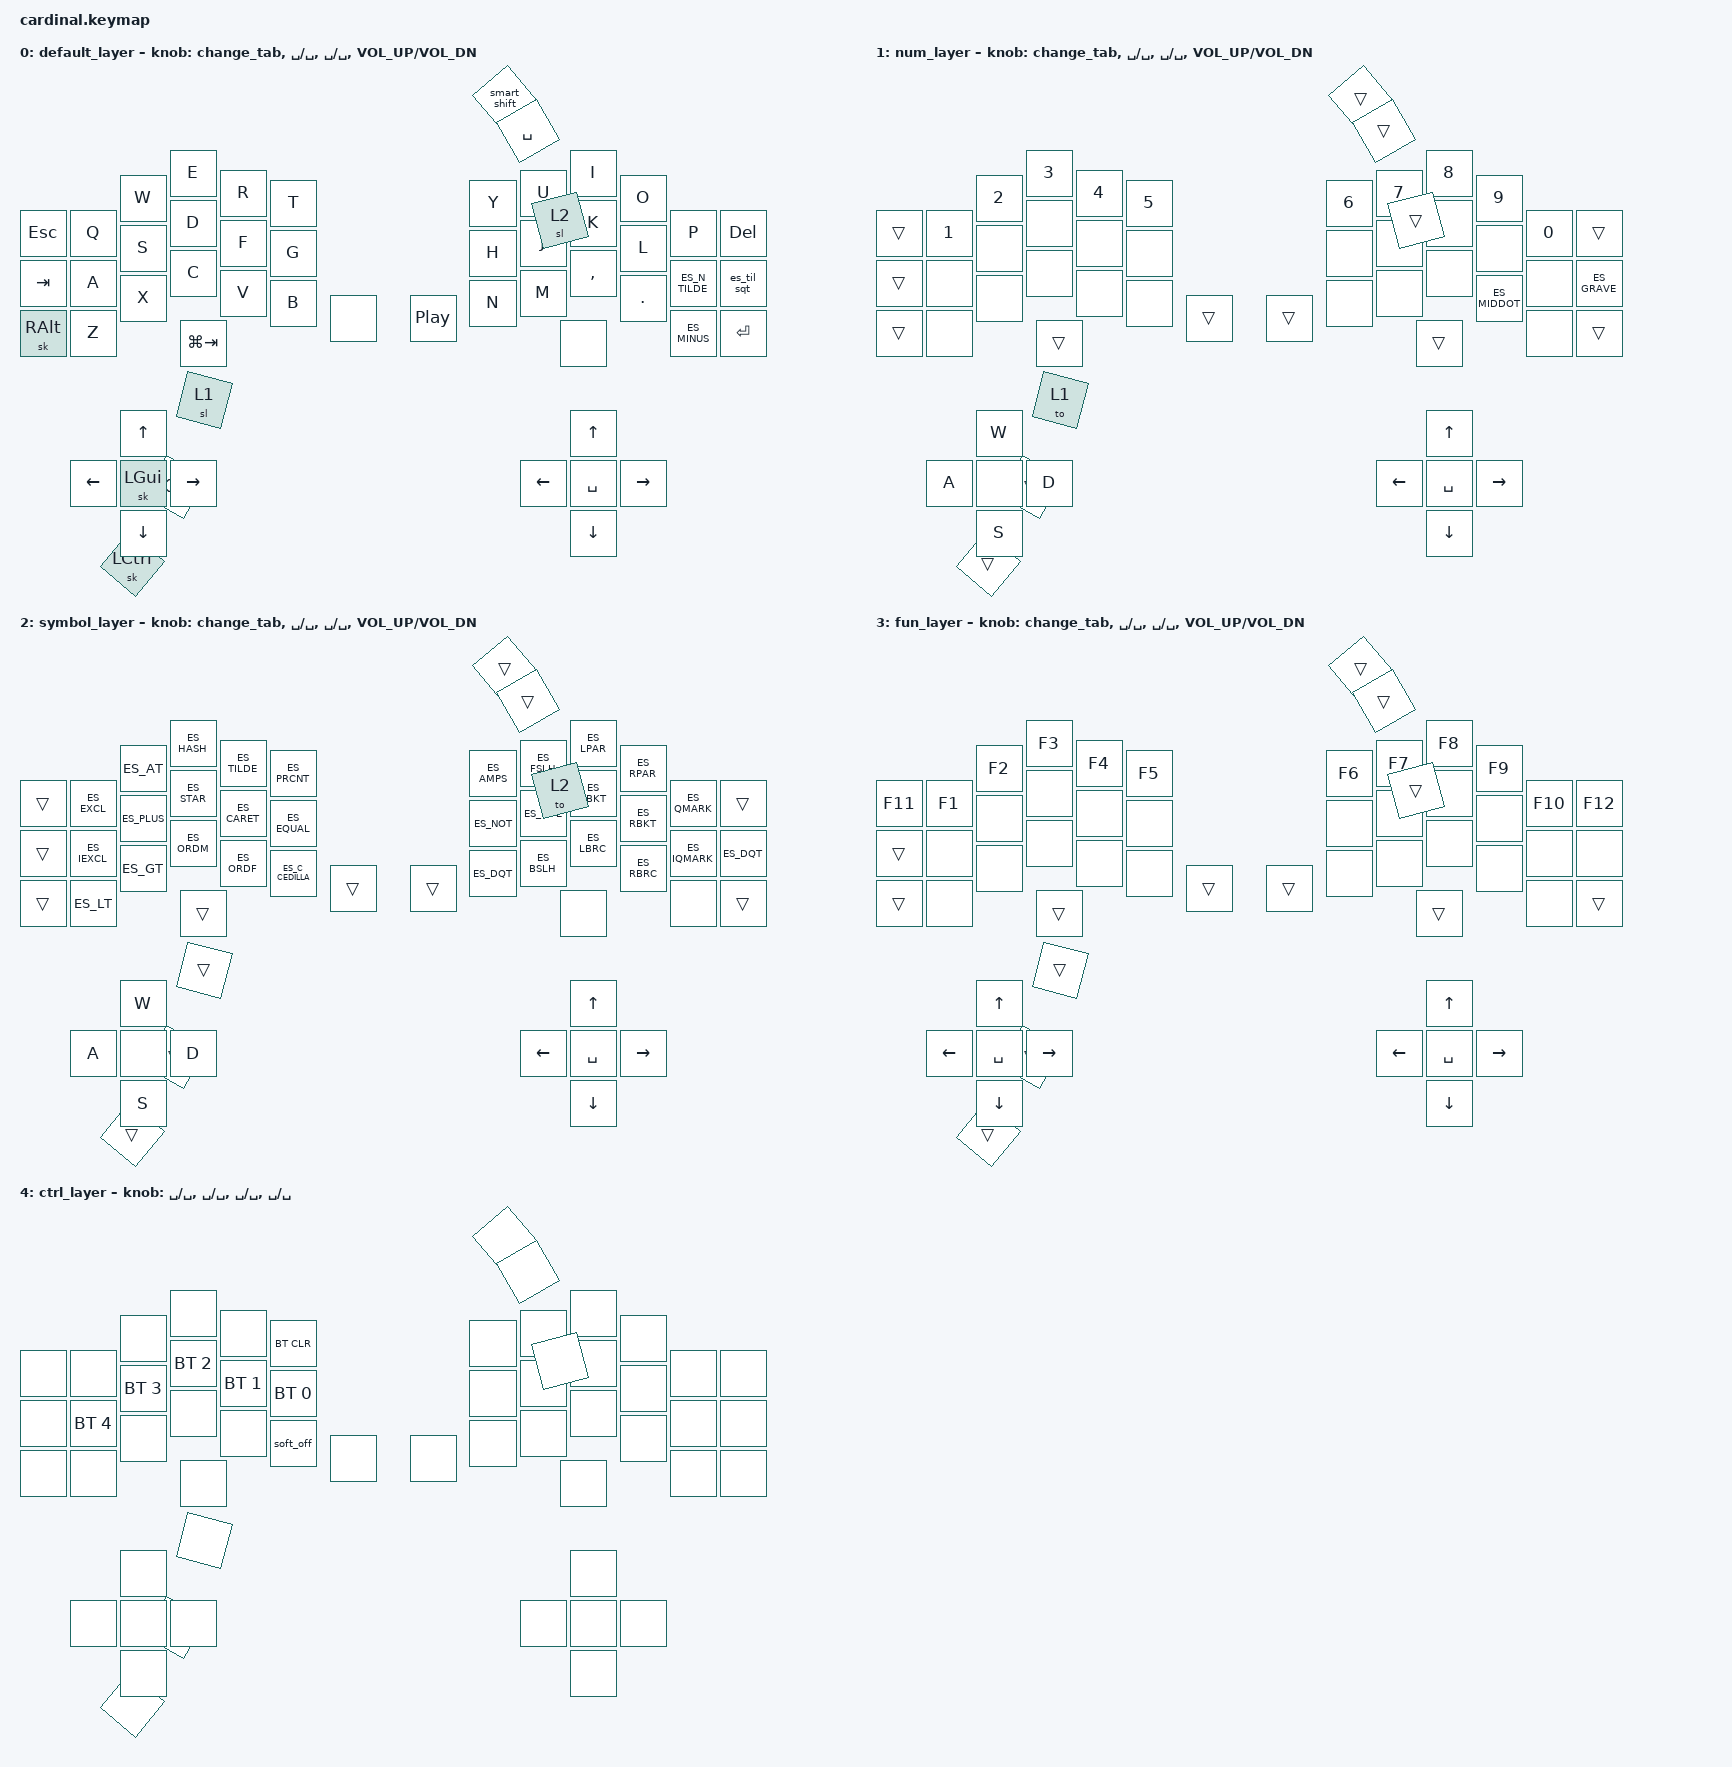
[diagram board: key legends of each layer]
//Personal keymap, subject to weird things, heavy use of helpers intended, and sticky keys, and use with spanish layout, 
// im sorry but having in the same key (,;) and (.:) its way better than (,<) and (.>), other things may not make sense

#include <behaviors.dtsi>
#include <dt-bindings/zmk/keys.h>
#include <dt-bindings/zmk/bt.h>

#include "keys_es.h"


//Support for key helpers, hillside fits perfectly because of the 42 base keys plus the encoders,
// LH4, RH4, LH3 and RH3 are the encoders clickdown
#include "zmk-helpers/helper.h"
#include "zmk-helpers/key-labels/hillside46.h"

// ╭─────────────────────────╮       ╭─────────────────────────╮
// │ LT5 LT4 LT3 LT2 LT1 LT0 │       │ RT0 RT1 RT2 RT3 RT4 RT5 │
// │ LM5 LM4 LM3 LM2 LM1 LM0 ╰──╮ ╭──╯ RM0 RM1 RM2 RM3 RM4 RM5 │
// │ LB5 LB4 LB3 LB2 LB1 LB0 LH4╰┬╯RH4 RB0 RB1 RB2 RB3 RB4 RB5 │
// ╰───────────╮ LH3 LH2 LH1 LH0 │ RH0 RH1 RH2 RH3 ╭───────────╯
//             ╰─────────────────┴─────────────────╯
// Also defining helpers for the 5-way switches, just in case I need then(probably not)

#define LU  46
#define LD  54
#define LL  48
#define LR  50
#define LCenter  49

#define RU  47
#define RD  55
#define RL  51
#define RR  53
#define RCenter  52

// Interesting feature, usefull for cases with hard to reach on/off switches
&soft_off {
    hold-time-ms = <5000>; // Only turn off it the key is held for 5 seconds or longer.
};

/ {

    combos {
        compatible = "zmk,combos";

        ctrlayer {
            timeout-ms = <70>;
            key-positions = <LH2 RH2>;
            bindings = <&sl 4>;
        };

        funlayerR {
            timeout-ms = <70>;
            key-positions = <RH2 RH1>;
            bindings = <&sl 3>;
        };

        funlayerL {
            timeout-ms = <70>;
            key-positions = <LH2 LH1>;
            bindings = <&sl 3>;
        };
    };

    behaviors {

        change_tab: change_tab {
            compatible = "zmk,behavior-sensor-rotate";
            #sensor-binding-cells = <0>;
            bindings = <&kp LC(LS(TAB))>, <&kp LC(TAB)>;
        };

        shcps: shcps {
            compatible = "zmk,behavior-hold-tap";
            bindings = <&kp>, <&sk>;
            #binding-cells = <2>;
            flavor = "tap-preferred";
            tapping-term-ms = <200>;
            quick-tap-ms = <125>;
        };
        
        es_til_sqt: es_tilde_squote {
            //Custom tap dance, in spanish tilde (á) is common, not so much squote(I'm) so this convines both keys with similar usages, 
            //also integrates ? into the mix(shifted squote) which is pretty nice imho 
            compatible = "zmk,behavior-tap-dance";
            #binding-cells = <0>;
            tapping-term-ms = <180>;
            bindings = <&kp ES_ACUTE> , <&kp ES_SQT>;
        };

        smart_shift: smart_shift {
            compatible = "zmk,behavior-tap-dance";
            #binding-cells = <0>;
            tapping-term-ms = <180>;
            bindings = <&sk LSHFT> , <&caps_word>;
        };

    };  
    
    keymap {
        compatible = "zmk,keymap";
        
        default_layer {
        // --------------------------------------------------------------------------------------------------------------------------------------------------------------------
        // Default layer, pretty standar
        //   |   ESC   |    Q    |    W    |    E    |    R    |    T    |                       |    Y    |    U    |    I    |    O    |    P    |  BSPC  |
        //   |   TAB   |    A    |    S    |    D    |    F    |    G    |                       |    H    |    J    |    K    |    L    |    ;    |    '   |
        //   |  RALT   |    Z    |    X    |    C    |    V    |    B    |  none   |   | Play/P  |    N    |    M    |    ,    |    .    |    -    |  ENTER |
        //                                 |  WinTab | NumLayer|  BSPC   |  LCRTL  |   |  SHIFT  |  SPACE  |   SymLayer |   none  |
        // (5 way)     
            bindings = <
                &kp ESC      &kp Q    &kp W    &kp E     &kp R     &kp T                                 &kp Y     &kp U       &kp I      &kp O     &kp P          &kp DEL
                &kp TAB      &kp A    &kp S    &kp D     &kp F     &kp G                                 &kp H     &kp J       &kp K      &kp L     &kp ES_N_TILDE &es_til_sqt
                &sk RALT     &kp Z    &kp X    &kp C     &kp V     &kp B    &none      &kp C_PLAY_PAUSE  &kp N     &kp M       &kp COMMA  &kp DOT   &kp ES_MINUS   &kp ENTER    
                                          &kp LG(TAB)    &sl 1     &kp BSPC &sk LCTRL  &smart_shift      &kp SPACE &sl 2       &none
                                 &kp UP                                                                                            &kp UP
                        &kp LEFT &sk LGUI  &kp RIGHT                                                                    &kp LEFT  &kp SPACE  &kp RIGHT
                                 &kp DOWN                                                                                          &kp DOWN
                    >;
            sensor-bindings = < 
                        &change_tab 
                        &inc_dec_kp SPACE SPACE 
                        &inc_dec_kp SPACE SPACE 
                        &inc_dec_kp C_VOL_UP C_VOL_DN
            >;
        };

        num_layer {
        // --------------------------------------------------------------------------------------------------------------------------------------------------------------------
        // Num layer, pretty sparce
        //   |   ESC   |    1    |    2    |    3    |    4    |    5    |                       |    6    |    7    |    8    |    9    |    0    |  BSPC   |
        //   |   TAB   |         |         |         |         |         |                       |         |         |         |         |         |    `    |
        //   |  RALT   |         |         |         |         |         |  none   |   | Play/P  |         |         |         |    ·    |         |  Enter  |
        //                                 |  WinTab | NumLayer|  BSPC   |  LCRTL  |   |  SHIFT  |  SPACE  |   SymLayer |   none  |
        // (5 way)     
            bindings = <
                &trans    &kp N1   &kp N2   &kp N3    &kp N4    &kp N5                       &kp N6   &kp N7    &kp N8   &kp N9        &kp N0   &trans
                &trans    &none    &none    &none     &none     &none                        &none    &none     &none    &none         &none    &kp ES_GRAVE
                &trans    &none    &none    &none     &none     &none    &trans     &trans   &none    &none     &none    &kp ES_MIDDOT &none    &trans   
                                            &trans    &to 1     &trans   &trans     &trans   &trans   &trans    &trans
                                 &kp W                                                                                     &kp UP
                        &kp A    &none  &kp D                                                                    &kp LEFT  &kp SPACE  &kp RIGHT
                                 &kp S                                                                                     &kp DOWN
                    >;
            sensor-bindings = <
                        &change_tab 
                        &inc_dec_kp SPACE SPACE 
                        &inc_dec_kp SPACE SPACE 
                        &inc_dec_kp C_VOL_UP C_VOL_DN
            >;
        };

        symbol_layer {
        // --------------------------------------------------------------------------------------------------------------------------------------------------------------------
        // Symbol layer, trying to maintain shft+number positions of spanish layout, and adding the rest in more or less nice position
        //   |   ESC   |    !    |    @    |    #    |    ~    |    %    |                       |    &    |    /    |    (    |    )    |    ?    |   BSPC   |
        //   |   TAB   |    ¡    |    +    |    *    |    ^    |    =    |                       |    ¬    |    |    |    [    |    ]    |    ¿    |    "     |
        //   |  RALT   |    <    |    >    |    º    |    ª    |    ç    |  none   |   | Play/P  |    "    |    \    |    {    |    }    |         |  ENTER   |
        //                                 |  WinTab | NumLayer|  BSPC   |  LCRTL  |   |  SHIFT  |  SPACE  | SymLayer |   none  |
        // (5 way)     
            bindings = <
                &trans   &kp ES_EXCL  &kp ES_AT   &kp ES_HASH  &kp ES_TILDE &kp ES_PRCNT                       &kp ES_AMPS &kp ES_FSLH  &kp ES_LPAR  &kp ES_RPAR  &kp ES_QMARK  &trans
                &trans   &kp ES_IEXCL &kp ES_PLUS &kp ES_STAR  &kp ES_CARET &kp ES_EQUAL                       &kp ES_NOT  &kp ES_PIPE  &kp ES_LBKT  &kp ES_RBKT  &kp ES_IQMARK &kp ES_DQT
                &trans   &kp ES_LT    &kp ES_GT   &kp ES_ORDM  &kp ES_ORDF  &kp ES_C_CEDILLA &trans    &trans  &kp ES_DQT  &kp ES_BSLH  &kp ES_LBRC  &kp ES_RBRC  &none         &trans   
                                                  &trans        &trans      &trans           &trans    &trans  &trans      &to 2        &none
                                 &kp W                                                                                     &kp UP
                        &kp A    &none  &kp D                                                                    &kp LEFT  &kp SPACE  &kp RIGHT
                                 &kp S                                                                                     &kp DOWN
                    >;
            sensor-bindings = <
                        &change_tab 
                        &inc_dec_kp SPACE SPACE 
                        &inc_dec_kp SPACE SPACE 
                        &inc_dec_kp C_VOL_UP C_VOL_DN
            >;
        };

        fun_layer {
        // --------------------------------------------------------------------------------------------------------------------------------------------------------------------
        // Function layer plus extra symbols, things i dont use
        //   |   F11   |   F1    |    F2   |    F3   |    F4   |   F5    |                       |    F6   |    F7   |    F8   |    F9   |    F20  |    F12  |
        //   |   TAB   |         |         |         |         |         |                       |         |         |         |         |         |         |
        //   |  RALT   |         |         |         |         |         |  none   |   | Play/P  |         |         |         |         |         |  ENTER  |
        //                                 |  WinTab | NumLayer|  BSPC   |  LCRTL  |   |  SHIFT  |  SPACE  | SymLayer |   none  |
        // (5 way)     
            bindings = <

                &kp F11   &kp F1   &kp F2   &kp F3   &kp F4    &kp F5                         &kp F6   &kp F7    &kp F8   &kp F9    &kp F10  &kp F12
                &trans    &none    &none    &none    &none     &none                          &none    &none     &none    &none     &none    &none
                &trans    &none    &none    &none    &none     &none      &trans     &trans   &none    &none     &none    &none     &none    &trans   
                                          &trans     &trans    &trans    &trans      &trans   &trans   &trans    &trans
                                 &kp UP                                                                                            &kp UP
                        &kp LEFT &kp SPACE  &kp RIGHT                                                                    &kp LEFT  &kp SPACE  &kp RIGHT
                                 &kp DOWN                                                                                          &kp DOWN
                    >;
            sensor-bindings = <
                        &change_tab
                        &inc_dec_kp SPACE SPACE 
                        &inc_dec_kp SPACE SPACE 
                        &inc_dec_kp C_VOL_UP C_VOL_DN
            >;
        };

        ctrl_layer {
        // --------------------------------------------------------------------------------------------------------------------------------------------------------------------
        // Control layer for the keyboard, bt and soft off
        //   |       |         |         |        |        |  BTCLEAR |               |         |         |         |         |         |         |
        //   |       |   BT4   |    BT3  |   BT2  |   BT1  |    BT0   |               |         |         |         |         |         |         |
        //   |       |         |         |        |        | SOFT_OFF |     |   |     |         |         |         |         |         |         |
        //                               |        |        |          |     |   |     |         |         |         |
        // (5 way)     
            bindings = <
                &none    &none         &none         &none        &none         &bt BT_CLR                      &none    &none     &none    &none     &none    &none
                &none    &bt BT_SEL 4  &bt BT_SEL 3  &bt BT_SEL 2 &bt BT_SEL 1  &bt BT_SEL 0                    &none    &none     &none    &none     &none    &none
                &none    &none         &none         &none        &none         &soft_off     &none    &none    &none    &none     &none    &none     &none    &none 
                                                     &none        &none         &none         &none    &none    &none    &none     &none    
                              &none                                                                              &none
                        &none &none  &none                                                                 &none &none &none
                              &none                                                                              &none
                    >;
            sensor-bindings = <
                        &inc_dec_kp SPACE SPACE 
                        &inc_dec_kp SPACE SPACE 
                        &inc_dec_kp SPACE SPACE 
                        &inc_dec_kp SPACE SPACE 
            >;
        };

    };
};




                                              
